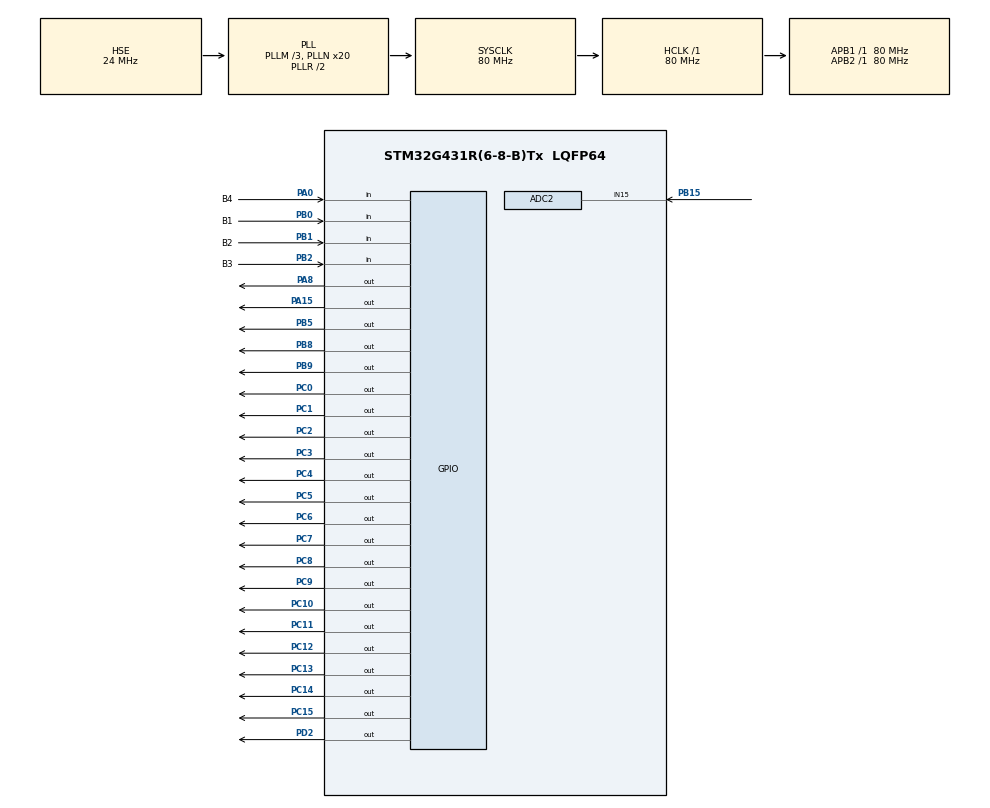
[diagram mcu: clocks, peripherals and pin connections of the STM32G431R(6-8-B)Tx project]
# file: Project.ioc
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ADC2.Channel-0\#ChannelRegularConversion=ADC_CHANNEL_15
ADC2.NbrOfConversionFlag=1
ADC2.OffsetNumber-0\#ChannelRegularConversion=ADC_OFFSET_NONE
ADC2.Rank-0\#ChannelRegularConversion=1
ADC2.SamplingTime-0\#ChannelRegularConversion=ADC_SAMPLETIME_2CYCLES_5
Mcu.Family=STM32G4
Mcu.Name=STM32G431R(6-8-B)Tx
Mcu.Package=LQFP64
NVIC.PriorityGroup=NVIC_PRIORITYGROUP_4
NVIC.TIM1_UP_TIM16_IRQn=true\:0\:0\:false\:false\:true\:true\:true\:true
PA0.GPIO_Label=B4
PA0.GPIO_PuPd=GPIO_PULLUP
PA0.Signal=GPIO_Input
PA13.Mode=Serial_Wire
PA13.Signal=SYS_JTMS-SWDIO
PA14.Mode=Serial_Wire
PA14.Signal=SYS_JTCK-SWCLK
PA15.Signal=GPIO_Output
PA8.Signal=GPIO_Output
PB0.GPIO_Label=B1
PB0.GPIO_Mode=GPIO_MODE_INPUT
PB0.GPIO_PuPd=GPIO_PULLUP
PB0.Signal=GPIO_Input
PB1.GPIO_Label=B2
PB1.GPIO_Mode=GPIO_MODE_INPUT
PB1.GPIO_PuPd=GPIO_PULLUP
PB1.Signal=GPIO_Input
PB15.Mode=IN15-Single-Ended
PB15.Signal=ADC2_IN15
PB2.GPIO_Label=B3
PB2.GPIO_Mode=GPIO_MODE_INPUT
PB2.GPIO_PuPd=GPIO_PULLUP
PB2.Signal=GPIO_Input
PB5.Signal=GPIO_Output
PB8-BOOT0.Signal=GPIO_Output
PB9.Signal=GPIO_Output
PC0.Signal=GPIO_Output
PC1.Signal=GPIO_Output
PC10.Signal=GPIO_Output
PC11.Signal=GPIO_Output
PC12.Signal=GPIO_Output
PC13.Signal=GPIO_Output
PC14-OSC32_IN.Signal=GPIO_Output
PC15-OSC32_OUT.Signal=GPIO_Output
PC2.Signal=GPIO_Output
PC3.Signal=GPIO_Output
PC4.Signal=GPIO_Output
PC5.Signal=GPIO_Output
PC6.Signal=GPIO_Output
PC7.Signal=GPIO_Output
PC8.Signal=GPIO_Output
PC9.Signal=GPIO_Output
PD2.Signal=GPIO_Output
PF0-OSC_IN.Mode=HSE-External-Oscillator
PF0-OSC_IN.Signal=RCC_OSC_IN
PF1-OSC_OUT.Mode=HSE-External-Oscillator
PF1-OSC_OUT.Signal=RCC_OSC_OUT
ProjectManager.HeapSize=0x200
ProjectManager.StackSize=0x400
ProjectManager.TargetToolchain=MDK-ARM V5.32
RCC.ADC12Freq_Value=80000000
RCC.AHBFreq_Value=80000000
RCC.APB1Freq_Value=80000000
RCC.APB1TimFreq_Value=80000000
RCC.APB2Freq_Value=80000000
RCC.APB2TimFreq_Value=80000000
RCC.CortexFreq_Value=80000000
RCC.EXTERNAL_CLOCK_VALUE=12288000
RCC.HCLKFreq_Value=80000000
RCC.HSE_VALUE=24000000
RCC.HSI48_VALUE=48000000
RCC.HSI_VALUE=16000000
RCC.LSE_VALUE=32768
RCC.PLLM=RCC_PLLM_DIV3
RCC.PLLN=20
RCC.PLLSourceVirtual=RCC_PLLSOURCE_HSE
RCC.SYSCLKFreq_VALUE=80000000
RCC.SYSCLKSource=RCC_SYSCLKSOURCE_PLLCLK
RCC.USBFreq_Value=80000000
RCC.VCOOutputFreq_Value=160000000
TIM16.PeriodNoDither=10000-1
TIM16.Prescaler=80-1
VP_SYS_VS_DBSignals.Mode=DisableDeadBatterySignals
VP_TIM16_VS_ClockSourceINT.Mode=Enable_Timer
board=custom

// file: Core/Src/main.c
/* USER CODE BEGIN Header */
/**
  ******************************************************************************
  * @file           : main.c
  * @brief          : Main program body
  ******************************************************************************
  * @attention
  *
  * Copyright (c) 2024 STMicroelectronics.
  * All rights reserved.
  *
  * This software is licensed under terms that can be found in the LICENSE file
  * in the root directory of this software component.
  * If no LICENSE file comes with this software, it is prad AS-IS.
  *
  ******************************************************************************
  */
/* USER CODE END Header */
#include "main.h"
#include "adc.h"
#include "tim.h"
#include "gpio.h"

/* USER CODE BEGIN PV */
u8 B1=0,B2=0,B3=0,B4=0;
u8 b1=0,b2=0,b3=0,b4=0;
int tim_2s=0;
int tim_2s_lock=0;
u16 led_state=0xffff;
int tim_01s=0;
int l1=0;
u8 select_index=0;

int F=0;	//PA1频率
int D=0;	//PA1占空比
double A=0;	//R37电压
double T=0;	//温度

int FH=2000;
double AH=3.0;
int TH=30;
int fh=0;
double ah=0;
int th=0;

int FN=0;
int AN=0;
int TN=0;

int FP=1; //分频系数
double VP=0.9; //回放最小值
int TT=6; //记录回放时间
int fp=0; //分频系数
double vp=0; //回放最小值
int tt=0; //记录回放时间
int tt_time=0;

u8 system_lock=0;	//0-默认 1-锁 2-电压 3-脉冲
u8 LCD_mode=0;

int F_Record[1000];
int D_Record[1000];
int D_Index=0,F_Index=0;
u8 Record_Flag=0;
/* USER CODE END PV */

void SystemClock_Config(void);
/* USER CODE BEGIN PFP */
void LED_Write(int led,int mode)
{
	u16 temp;
	temp = GPIOC->ODR;
	HAL_GPIO_WritePin(GPIOD,GPIO_PIN_2,GPIO_PIN_SET);
	GPIOC->ODR = led_state;
	HAL_GPIO_WritePin(GPIOC,GPIO_PIN_8<<(led-1),mode^=1);
	led_state = GPIOC->ODR;
	HAL_GPIO_WritePin(GPIOD,GPIO_PIN_2,GPIO_PIN_RESET);
	GPIOC->ODR = temp;
}
void SYSTEM_Init(void)
{
	tim_2s_lock=0;
	tim_2s=0;
	LED_Write(1,0);
	fh=FH=2000;
	ah=AH=3.0;
	th=TH=30;
	FN=0;
	AN=0;
	TN=0;
	fp=FP=1; //分频系数
	vp=VP=0.9; //回放最小值
	tt=TT=6; //记录回放时间
}
void HAL_TIM_PeriodElapsedCallback(TIM_HandleTypeDef *htim)
{
	if(htim->Instance==TIM16)
	{
		if(tim_2s_lock)
		{
			if(++tim_2s==200)
			{
				tim_2s=0;
				SYSTEM_Init();
			}
		}
		if(++tim_01s==10)
		{
			tim_01s=0;
			if(system_lock==1) LED_Write(1,l1^=1);
			if(system_lock!=1) LED_Write(1,0);
			if(system_lock==2) LED_Write(2,l1^=1);
			if(system_lock!=2) LED_Write(2,0);
			if(system_lock==3) LED_Write(3,l1^=1);
			if(system_lock!=3) LED_Write(3,0);
		}
		if(system_lock)
		{
			if(system_lock==1)
			{
				F_Record[F_Index++]=F;
				D_Record[D_Index++]=D;
			}
			if(system_lock==2)
			{
				F=F_Record[F_Index++];
				D=D_Record[D_Index++];
			}
			if(++tt_time==TT*100)
			{
				tt_time=0;
				system_lock=0;
			}
		}
	}
}
/* USER CODE END PFP */

/* USER CODE BEGIN 0 */
void LED_Proc(void)
{
	if(F>FH) LED_Write(4,1);
	else LED_Write(4,0);
	if(A>AH) LED_Write(5,1);
	else LED_Write(5,0);
	if(T>TH) LED_Write(6,1);
	else LED_Write(6,0);
}
void KEY_Proc(void)
{
	if(system_lock==1) return;

	B1=HAL_GPIO_ReadPin(B1_GPIO_Port,B1_Pin);
	B2=HAL_GPIO_ReadPin(B2_GPIO_Port,B2_Pin);
	B3=HAL_GPIO_ReadPin(B3_GPIO_Port,B3_Pin);
	B4=HAL_GPIO_ReadPin(B4_GPIO_Port,B4_Pin);
	if(B1==0&&b1==1)
	{
		b1=0;
		if(++LCD_mode==4) LCD_mode=0;
		if(LCD_mode==1)
		{
			fh=FH;
			ah=AH;
			th=TH;
		}
		if(LCD_mode==2)
		{
			FH=fh;
			AH=ah;
			TH=th;
		}
		if(LCD_mode==3)
		{
			fp=FP;
			vp=VP;
			tt=TT;
		}
		if(LCD_mode==0)
		{
			FP=fp;
			VP=vp;
			TT=tt;
		}
		select_index=0;
		LCD_Clear(Black);
	}
	if(B1==1&&b1==0) b1=1;

	if(B2==0&&b2==1)
	{
		b2=0;
		if(LCD_mode==0)
		{
			system_lock=1;
			D_Index=0;
			F_Index=0;
			tt_time=0;
			Record_Flag=1;
		}
		if(LCD_mode==2)
		{
			FN=AN=TN=0;
		}
		if(LCD_mode==1||LCD_mode==3)
		{
			if(++select_index==3) select_index=0;
		}

	}
	if(B2==1&&b2==0) b2=1;

	if(B3==0&&b3==1)
	{
		b3=0;
		if(LCD_mode==0&&Record_Flag)
		{
			system_lock=2;
			D_Index=0;
			F_Index=0;
			tt_time=0;
		}
		if(LCD_mode==1)
		{
			if(select_index==0) fh+=1000;
			if(select_index==1) ah+=0.3;
			if(select_index==2) th+=1;
		}
		if(LCD_mode==3)
		{
			if(select_index==0) fp+=1;
			if(select_index==1) vp+=0.3;
			if(select_index==2) tt+=2;
		}
		tim_2s_lock=1;
	}
	if(B3==1&&b3==0)
	{
		b3=1;
		tim_2s_lock=0;
		tim_2s=0;
	}

	if(B4==0&&b4==1)
	{
		b4=0;
		if(LCD_mode==0&&Record_Flag)
		{
			system_lock=3;
			D_Index=0;
			F_Index=0;
			tt_time=0;
		}
		if(LCD_mode==1)
		{
			if(select_index==0) fh-=1000;
			if(select_index==1) ah-=0.3;
			if(select_index==2) th-=1;
		}
		if(LCD_mode==3)
		{
			if(select_index==0) fp-=1;
			if(select_index==1) vp-=0.3;
			if(select_index==2) tt-=2;
		}
		tim_2s_lock=1;
	}
	if(B4==1&&b4==0)
	{
		b4=1;
		tim_2s_lock=0;
		tim_2s=0;
	}
}
void LCD_Proc(u8 LCD_mode)
{
	char text[20];
	sprintf(text,"tim_2s=%d        ",tim_2s);
	LCD_DisplayStringLine(Line0, (u8*)text);
	switch(LCD_mode)
	{
		case 0:
			sprintf(text,"        DATA     ");
			LCD_DisplayStringLine(Line1, (u8*)text);
			sprintf(text,"     F=%d        ",F);
			LCD_DisplayStringLine(Line3, (u8*)text);
			sprintf(text,"     D=%d        ",D);
			LCD_DisplayStringLine(Line4, (u8*)text);
			sprintf(text,"     A=%.1f      ",A);
			LCD_DisplayStringLine(Line5, (u8*)text);
			sprintf(text,"     T=%.1f      ",T);
			LCD_DisplayStringLine(Line6, (u8*)text);
		break;
		case 1:
			sprintf(text,"        PARA     ");
			LCD_DisplayStringLine(Line1, (u8*)text);
			sprintf(text,"     FH=%d        ",fh);
			LCD_DisplayStringLine(Line3, (u8*)text);
			sprintf(text,"     AH=%.1f      ",ah);
			LCD_DisplayStringLine(Line4, (u8*)text);
			sprintf(text,"     TH=%d        ",th);
			LCD_DisplayStringLine(Line5, (u8*)text);
		break;
		case 2:
			sprintf(text,"        RECD     ");
			LCD_DisplayStringLine(Line1, (u8*)text);
			sprintf(text,"     FN=%d        ",FN);
			LCD_DisplayStringLine(Line3, (u8*)text);
			sprintf(text,"     AN=%d        ",AN);
			LCD_DisplayStringLine(Line4, (u8*)text);
			sprintf(text,"     TN=%d        ",TN);
			LCD_DisplayStringLine(Line5, (u8*)text);
		break;
		case 3:
			sprintf(text,"        PARA     ");
			LCD_DisplayStringLine(Line1, (u8*)text);
			sprintf(text,"     FP=%d        ",fp);
			LCD_DisplayStringLine(Line3, (u8*)text);
			sprintf(text,"     VP=%.1f      ",vp);
			LCD_DisplayStringLine(Line4, (u8*)text);
			sprintf(text,"     TT=%d        ",tt);
			LCD_DisplayStringLine(Line5, (u8*)text);
		break;
	}

}
void Back(void)
{
	double d_t;
	if(system_lock==1)
	{
		HAL_ADC_Start(&hadc2);
		A=HAL_ADC_GetValue(&hadc2)/4095.0*3.3;
		HAL_ADC_Stop(&hadc2);
		d_t=(-900.0/(10.0*VP-33.0))*A+(1000.0*VP-330.0)/(10.0*VP-33.0);
		if(A<=VP) D=10;
		else if(A>=3.3) D=85;
		else D = (int)d_t;
	}
}
/* USER CODE END 0 */

int main(void)
{

  /* MCU Configuration--------------------------------------------------------*/

  /* Reset of all peripherals, Initializes the Flash interface and the Systick. */
  HAL_Init();

  /* Configure the system clock */
  SystemClock_Config();

  /* Initialize all configured peripherals */
  MX_GPIO_Init();
  MX_TIM16_Init();
  MX_ADC2_Init();
  /* USER CODE BEGIN 2 */
    LCD_Init();
    LCD_SetBackColor(Black);
    LCD_SetTextColor(White);
	 LCD_Clear(Black);
  /* USER CODE END 2 */

  /* Infinite loop */
  /* USER CODE BEGIN WHILE */
  HAL_TIM_Base_Start_IT(&htim16);
  SYSTEM_Init();
  while (1)
  {
	  Back();
	  KEY_Proc();
	  if(fh<=1000) fh=1000;
	  if(fh>=10000) fh=10000;
	  if(ah<=0) ah=0;
	  if(ah>=3.3) ah=3.3;
	  if(th<=0) th=0;
	  if(th>=80) th=80;
	  if(fp<=1) fp=1;
	  if(fp>=10) fp=10;
	  if(vp<=0) vp=0;
	  if(vp>=3.3) vp=3.3;
	  if(tt<=2) tt=2;
	  if(tt>=10) tt=10;
    /* USER CODE END WHILE */

    /* USER CODE BEGIN 3 */
	  LCD_Proc(LCD_mode);
	  LED_Proc();
  }
  /* USER CODE END 3 */
}

void SystemClock_Config(void)
{
  RCC_OscInitTypeDef RCC_OscInitStruct = {0};
  RCC_ClkInitTypeDef RCC_ClkInitStruct = {0};

  /** Configure the main internal regulator output voltage
  */
  HAL_PWREx_ControlVoltageScaling(PWR_REGULATOR_VOLTAGE_SCALE1);

  /** Initializes the RCC Oscillators according to the specified parameters
  * in the RCC_OscInitTypeDef structure.
  */
  RCC_OscInitStruct.OscillatorType = RCC_OSCILLATORTYPE_HSE;
  RCC_OscInitStruct.HSEState = RCC_HSE_ON;
  RCC_OscInitStruct.PLL.PLLState = RCC_PLL_ON;
  RCC_OscInitStruct.PLL.PLLSource = RCC_PLLSOURCE_HSE;
  RCC_OscInitStruct.PLL.PLLM = RCC_PLLM_DIV3;
  RCC_OscInitStruct.PLL.PLLN = 20;
  RCC_OscInitStruct.PLL.PLLP = RCC_PLLP_DIV2;
  RCC_OscInitStruct.PLL.PLLQ = RCC_PLLQ_DIV2;
  RCC_OscInitStruct.PLL.PLLR = RCC_PLLR_DIV2;
  if (HAL_RCC_OscConfig(&RCC_OscInitStruct) != HAL_OK)
  {
    Error_Handler();
  }

  /** Initializes the CPU, AHB and APB buses clocks
  */
  RCC_ClkInitStruct.ClockType = RCC_CLOCKTYPE_HCLK|RCC_CLOCKTYPE_SYSCLK
                              |RCC_CLOCKTYPE_PCLK1|RCC_CLOCKTYPE_PCLK2;
  RCC_ClkInitStruct.SYSCLKSource = RCC_SYSCLKSOURCE_PLLCLK;
  RCC_ClkInitStruct.AHBCLKDivider = RCC_SYSCLK_DIV1;
  RCC_ClkInitStruct.APB1CLKDivider = RCC_HCLK_DIV1;
  RCC_ClkInitStruct.APB2CLKDivider = RCC_HCLK_DIV1;

  if (HAL_RCC_ClockConfig(&RCC_ClkInitStruct, FLASH_LATENCY_2) != HAL_OK)
  {
    Error_Handler();
  }
}

void Error_Handler(void)
{
  __disable_irq();
  while (1)
  {
  }
}
